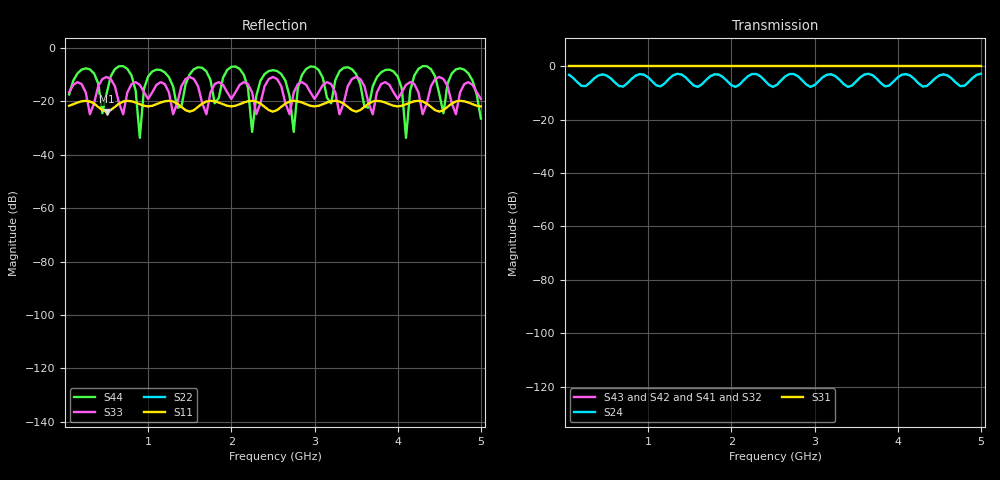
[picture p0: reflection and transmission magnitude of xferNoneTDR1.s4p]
# MHz MA S R 50.0
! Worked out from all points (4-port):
!   100 points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, 50 MHz to 5 GHz, reference 50 ohm
!   strongest paths, dB at 50 MHz, 1.3 GHz, 2.55 GHz, 3.8 GHz, 5 GHz:
!     S31: 0.0, 0.0, 0.0, 0.0, 0.0
!     S24: -3.2, -3.4, -7.0, -6.4, -2.8
!     S43: -, -, -, -, -
!     S42: -, -, -, -, -
!     S41: -, -, -, -, -
!     S32: -, -, -, -, -
!   lowest |S11| = -23.9 dB at 500 MHz (marker M1), VSWR 1.14, Z = 56.9 + j0 ohm
!   |S11| at or under -10 dB: start of sweep to end of sweep
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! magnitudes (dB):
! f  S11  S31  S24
! 50 MHz  -21.7  0.0  -3.2
! 500 MHz  -23.9  0.0  -3.5
! 2.75 GHz  -19.8  0.0  -2.9
! 3.9 GHz  -21.1  0.0  -7.2
! 4.1 GHz  -21.1  0.0  -3.0
! 4.75 GHz  -19.8  0.0  -7.4
! 5 GHz  -21.9  0.0  -2.8
